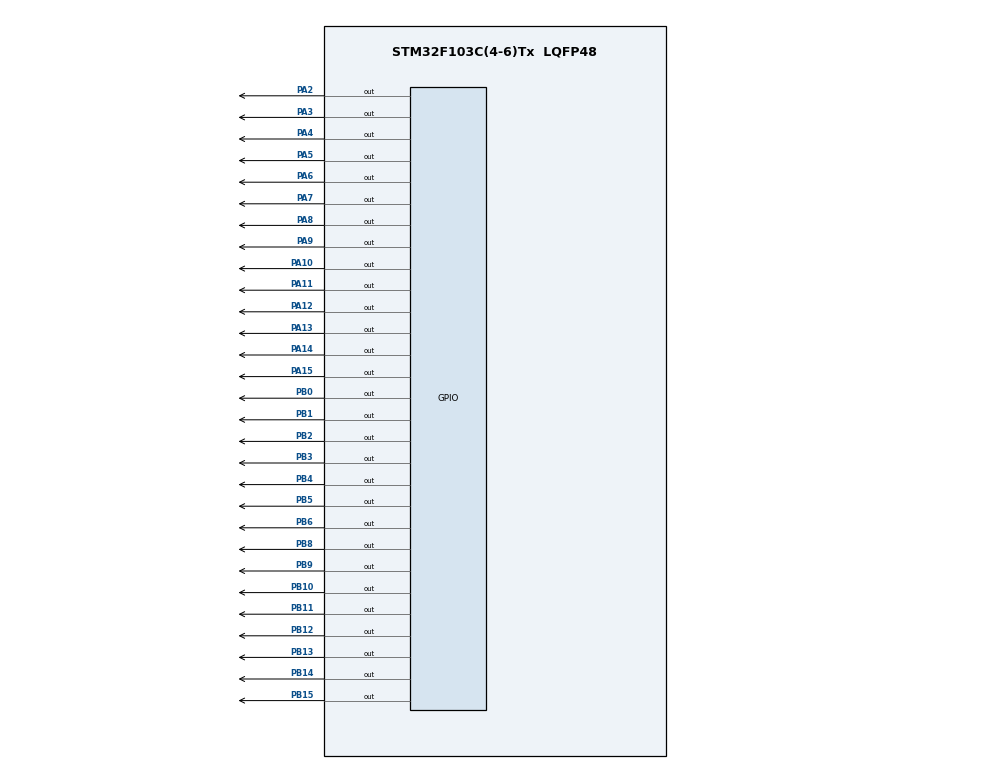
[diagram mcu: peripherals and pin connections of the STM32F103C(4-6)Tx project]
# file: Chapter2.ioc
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Mcu.Family=STM32F1
Mcu.Name=STM32F103C(4-6)Tx
Mcu.Package=LQFP48
NVIC.PriorityGroup=NVIC_PRIORITYGROUP_4
NVIC.TIM2_IRQn=true\:0\:0\:false\:false\:true\:true\:true
PA10.Signal=GPIO_Output
PA11.Signal=GPIO_Output
PA12.Signal=GPIO_Output
PA13.Signal=GPIO_Output
PA14.Signal=GPIO_Output
PA15.Signal=GPIO_Output
PA2.Signal=GPIO_Output
PA3.Signal=GPIO_Output
PA4.Signal=GPIO_Output
PA5.Signal=GPIO_Output
PA6.Signal=GPIO_Output
PA7.Signal=GPIO_Output
PA8.Signal=GPIO_Output
PA9.Signal=GPIO_Output
PB0.Signal=GPIO_Output
PB1.Signal=GPIO_Output
PB10.Signal=GPIO_Output
PB11.Signal=GPIO_Output
PB12.Signal=GPIO_Output
PB13.Signal=GPIO_Output
PB14.Signal=GPIO_Output
PB15.Signal=GPIO_Output
PB2.Signal=GPIO_Output
PB3.Signal=GPIO_Output
PB4.Signal=GPIO_Output
PB5.Signal=GPIO_Output
PB6.Signal=GPIO_Output
PB8.Signal=GPIO_Output
PB9.Signal=GPIO_Output
ProjectManager.HeapSize=0x200
ProjectManager.StackSize=0x400
ProjectManager.TargetToolchain=STM32CubeIDE
RCC.APB1Freq_Value=8000000
RCC.APB2Freq_Value=8000000
TIM2.AutoReloadPreload=TIM_AUTORELOAD_PRELOAD_ENABLE
TIM2.Period=9
TIM2.Prescaler=799
VP_SYS_VS_ND.Mode=No_Debug
VP_TIM2_VS_ClockSourceINT.Mode=Internal
board=custom

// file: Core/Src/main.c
/* USER CODE BEGIN Header */
/**
  ******************************************************************************
  * @file           : main.c
  * @brief          : Main program body
  ******************************************************************************
  * @attention
  *
  * <h2><center>&copy; Copyright (c) 2021 STMicroelectronics.
  * All rights reserved.</center></h2>
  *
  * This software component is licensed by ST under BSD 3-Clause license,
  * the "License"; You may not use this file except in compliance with the
  * License. You may obtain a copy of the License at:
  *                        opensource.org/licenses/BSD-3-Clause
  *
  ******************************************************************************
  */
/* USER CODE END Header */
#include "main.h"

/* USER CODE BEGIN PTD */
#define NO_OF_TIMERS 3
/* USER CODE END PTD */

TIM_HandleTypeDef htim2;

/* USER CODE BEGIN PV */
static uint8_t seg7Hex[] = {0x01, 0x4F, 0x12, 0x06, 0x4C, 0x24, 0x20, 0x0F, 0x00, 0x04, 0xff};
static uint16_t seg7Port[7] = {SEG0, SEG1, SEG2, SEG3, SEG4, SEG5, SEG6};
static uint16_t seg7En[4] = {EN0, EN1, EN2, EN3};

const int MAX_LED = 4;
int index_led = 0;
int led_buffer [4] = {0, 0, 0, 0};

int hour = 15, minute = 8, second = 50;

const int MAX_LED_MATRIX = 8;
int index_led_matrix = 0;
//uint8_t matrix_buffer[8] = {0x01, 0x06, 0x38, 0xC8, 0xC8, 0x38, 0x06, 0x01};
uint8_t matrix_buffer[8] = {0xff, 0xff,0x18,0x18,0x18,0x18,0xff,0xff};
uint8_t charA[8] = {0x01, 0x06, 0x38, 0xC8, 0xC8, 0x38, 0x06, 0x01};
uint8_t charH[8] = {0xff, 0xff,0x18,0x18,0x18,0x18,0xff,0xff};

uint16_t row_pin[8] = {ROW0,ROW1,ROW2,ROW3,ROW4,ROW5,ROW6,ROW7};
uint16_t col_pin[8] = {ENM0,ENM1,ENM2,ENM3,ENM4,ENM5,ENM6,ENM7};

int TIMER_CYCLE;

int timer_counter[NO_OF_TIMERS];
int timer_flag[NO_OF_TIMERS];

/* USER CODE END PV */

void SystemClock_Config(void);
static void MX_TIM2_Init(void);
static void MX_GPIO_Init(void);
/* USER CODE BEGIN PFP */
void update7SEG(int);
void updateClockBuffer(void);
void display7SEG(int);
void updateLEDMatrixBuffer(uint8_t *);
void updateLEDMatrix(int);
void shiftLeftMatrix(uint8_t *);

void setTimer(int, int);
void timer_run(void);
/* USER CODE END PFP */

int main(void)
{

  /* MCU Configuration--------------------------------------------------------*/

  /* Reset of all peripherals, Initializes the Flash interface and the Systick. */
  HAL_Init();

  /* Configure the system clock */
  SystemClock_Config();

  /* Initialize all configured peripherals */
  MX_TIM2_Init();
  MX_GPIO_Init();
  /* USER CODE BEGIN 2 */
  HAL_TIM_Base_Start_IT(&htim2);
  /* USER CODE END 2 */

  /* Infinite loop */
  /* USER CODE BEGIN WHILE */

  setTimer(0,TIMER_CYCLE);
  setTimer(1,TIMER_CYCLE);
  setTimer(2,TIMER_CYCLE);
  updateClockBuffer();

  HAL_GPIO_WritePin(ROW_PORT, ROW0|ROW1|ROW2|ROW3|ROW4|ROW5|ROW6|ROW7, 1);
  HAL_GPIO_WritePin(ENM_PORT, ENM0|ENM1|ENM2|ENM3|ENM4|ENM5|ENM6|ENM7, 1);

  HAL_GPIO_WritePin(ROW_PORT, ROW7, 0);
  HAL_GPIO_WritePin(ENM_PORT, ENM7, 0);
  while (1)
  {
	  if(timer_flag[0]) {
		  timer_flag[0] = 0;
		  setTimer(0,1000);

		  HAL_GPIO_TogglePin(DOT_PORT, DOT);
		  HAL_GPIO_TogglePin(RLED_PORT, RLED1);

		  second++;
		  if(second >= 60) {
			  second = 0;
			  minute++;
		  }
		  if(minute >= 60) {
			  minute = 0;
			  hour++;
		  }
		  if(hour >= 24) {
			  hour = 0;
		  }
		  updateClockBuffer();
	  }
	  if(timer_flag[1]) {
		  timer_flag[1] = 0;
		  setTimer(1,250);

		  shiftLeftMatrix(charH);
		  update7SEG(index_led++);
		  if(index_led == MAX_LED) index_led = 0;
	  }
	  if(timer_flag[2]) {
		  timer_flag[2] = 0;
		  setTimer(2,3);
//		  updateLEDMatrixBuffer(charA);
		  updateLEDMatrix(index_led_matrix++);
		  if(index_led_matrix == MAX_LED_MATRIX) index_led_matrix = 0;
	  }

    /* USER CODE END WHILE */

  }
}

void SystemClock_Config(void)
{
  RCC_OscInitTypeDef RCC_OscInitStruct = {0};
  RCC_ClkInitTypeDef RCC_ClkInitStruct = {0};

  /** Initializes the RCC Oscillators according to the specified parameters
  * in the RCC_OscInitTypeDef structure.
  */
  RCC_OscInitStruct.OscillatorType = RCC_OSCILLATORTYPE_HSI;
  RCC_OscInitStruct.HSIState = RCC_HSI_ON;
  RCC_OscInitStruct.HSICalibrationValue = RCC_HSICALIBRATION_DEFAULT;
  RCC_OscInitStruct.PLL.PLLState = RCC_PLL_NONE;
  if (HAL_RCC_OscConfig(&RCC_OscInitStruct) != HAL_OK)
  {
    Error_Handler();
  }
  /** Initializes the CPU, AHB and APB buses clocks
  */
  RCC_ClkInitStruct.ClockType = RCC_CLOCKTYPE_HCLK|RCC_CLOCKTYPE_SYSCLK
                              |RCC_CLOCKTYPE_PCLK1|RCC_CLOCKTYPE_PCLK2;
  RCC_ClkInitStruct.SYSCLKSource = RCC_SYSCLKSOURCE_HSI;
  RCC_ClkInitStruct.AHBCLKDivider = RCC_SYSCLK_DIV1;
  RCC_ClkInitStruct.APB1CLKDivider = RCC_HCLK_DIV1;
  RCC_ClkInitStruct.APB2CLKDivider = RCC_HCLK_DIV1;

  if (HAL_RCC_ClockConfig(&RCC_ClkInitStruct, FLASH_LATENCY_0) != HAL_OK)
  {
    Error_Handler();
  }
}

static void MX_TIM2_Init(void)
{

  TIM_ClockConfigTypeDef sClockSourceConfig = {0};
  TIM_MasterConfigTypeDef sMasterConfig = {0};

  htim2.Instance = TIM2;
  htim2.Init.Prescaler = 799;
  htim2.Init.CounterMode = TIM_COUNTERMODE_UP;
  htim2.Init.Period = 9;
  htim2.Init.ClockDivision = TIM_CLOCKDIVISION_DIV1;
  htim2.Init.AutoReloadPreload = TIM_AUTORELOAD_PRELOAD_ENABLE;
  if (HAL_TIM_Base_Init(&htim2) != HAL_OK)
  {
    Error_Handler();
  }
  sClockSourceConfig.ClockSource = TIM_CLOCKSOURCE_INTERNAL;
  if (HAL_TIM_ConfigClockSource(&htim2, &sClockSourceConfig) != HAL_OK)
  {
    Error_Handler();
  }
  sMasterConfig.MasterOutputTrigger = TIM_TRGO_RESET;
  sMasterConfig.MasterSlaveMode = TIM_MASTERSLAVEMODE_DISABLE;
  if (HAL_TIMEx_MasterConfigSynchronization(&htim2, &sMasterConfig) != HAL_OK)
  {
    Error_Handler();
  }
  /* USER CODE BEGIN TIM2_Init 2 */
  	TIMER_CYCLE = ((htim2.Init.Prescaler+1) * (htim2.Init.Period+1) / 8000);
  /* USER CODE END TIM2_Init 2 */

}

static void MX_GPIO_Init(void)
{
  GPIO_InitTypeDef GPIO_InitStruct = {0};

  /* GPIO Ports Clock Enable */
  __HAL_RCC_GPIOA_CLK_ENABLE();
  __HAL_RCC_GPIOB_CLK_ENABLE();

  /*Configure GPIO pin Output Level */
  HAL_GPIO_WritePin(GPIOA, GPIO_PIN_2|GPIO_PIN_3|GPIO_PIN_4|GPIO_PIN_5
                          |GPIO_PIN_6|GPIO_PIN_7|GPIO_PIN_8|GPIO_PIN_9
                          |GPIO_PIN_10|GPIO_PIN_11|GPIO_PIN_12|GPIO_PIN_13
                          |GPIO_PIN_14|GPIO_PIN_15, GPIO_PIN_RESET);

  /*Configure GPIO pin Output Level */
  HAL_GPIO_WritePin(GPIOB, GPIO_PIN_0|GPIO_PIN_1|GPIO_PIN_2|GPIO_PIN_10
                          |GPIO_PIN_11|GPIO_PIN_12|GPIO_PIN_13|GPIO_PIN_14
                          |GPIO_PIN_15|GPIO_PIN_3|GPIO_PIN_4|GPIO_PIN_5
                          |GPIO_PIN_6|GPIO_PIN_8|GPIO_PIN_9, GPIO_PIN_RESET);

  /*Configure GPIO pins : PA2 PA3 PA4 PA5
                           PA6 PA7 PA8 PA9
                           PA10 PA11 PA12 PA13
                           PA14 PA15 */
  GPIO_InitStruct.Pin = GPIO_PIN_2|GPIO_PIN_3|GPIO_PIN_4|GPIO_PIN_5
                          |GPIO_PIN_6|GPIO_PIN_7|GPIO_PIN_8|GPIO_PIN_9
                          |GPIO_PIN_10|GPIO_PIN_11|GPIO_PIN_12|GPIO_PIN_13
                          |GPIO_PIN_14|GPIO_PIN_15;
  GPIO_InitStruct.Mode = GPIO_MODE_OUTPUT_PP;
  GPIO_InitStruct.Pull = GPIO_NOPULL;
  GPIO_InitStruct.Speed = GPIO_SPEED_FREQ_LOW;
  HAL_GPIO_Init(GPIOA, &GPIO_InitStruct);

  /*Configure GPIO pins : PB0 PB1 PB2 PB10
                           PB11 PB12 PB13 PB14
                           PB15 PB3 PB4 PB5
                           PB6 PB8 PB9 */
  GPIO_InitStruct.Pin = GPIO_PIN_0|GPIO_PIN_1|GPIO_PIN_2|GPIO_PIN_10
                          |GPIO_PIN_11|GPIO_PIN_12|GPIO_PIN_13|GPIO_PIN_14
                          |GPIO_PIN_15|GPIO_PIN_3|GPIO_PIN_4|GPIO_PIN_5
                          |GPIO_PIN_6|GPIO_PIN_8|GPIO_PIN_9;
  GPIO_InitStruct.Mode = GPIO_MODE_OUTPUT_PP;
  GPIO_InitStruct.Pull = GPIO_NOPULL;
  GPIO_InitStruct.Speed = GPIO_SPEED_FREQ_LOW;
  HAL_GPIO_Init(GPIOB, &GPIO_InitStruct);

}

/* USER CODE BEGIN 4 */
void display7SEG(int num) {
	HAL_GPIO_WritePin(SEG_PORT, SEG0 | SEG1 | SEG2 | SEG3 | SEG4 | SEG5 | SEG6, 1);
	for(int i = 0; i < 7; i++) {
		HAL_GPIO_WritePin(SEG_PORT, seg7Port[i], seg7Hex[num] & (0x40 >> i));
	}
}

void update7SEG(int index) {
	HAL_GPIO_WritePin(EN_PORT, EN0 | EN1 | EN2 | EN3, 1);
	display7SEG(led_buffer[index]);
	HAL_GPIO_WritePin(EN_PORT, seg7En[index], 0);
}

void updateLEDMatrixBuffer(uint8_t * character){
	for(int i = 0 ; i< 8; i++){
		matrix_buffer[i] = character[i];
	}
}

void updateLEDMatrix(int index) {
	HAL_GPIO_WritePin(ROW_PORT, ROW0|ROW1|ROW2|ROW3|ROW4|ROW5|ROW6|ROW7, 1);
	HAL_GPIO_WritePin(ENM_PORT, ENM0|ENM1|ENM2|ENM3|ENM4|ENM5|ENM6|ENM7, 1);
	for(int i = 0; i < 8; i++) {
		if(matrix_buffer[index] & (0x80 >> i)) {
			HAL_GPIO_WritePin(ROW_PORT, row_pin[i], 0);
		}
	}
	HAL_GPIO_WritePin(ENM_PORT, col_pin[index], 0);
}
void shiftLeftMatrix(uint8_t * character) {
	static int shamt = 0;

	for(int i = 0; i < MAX_LED_MATRIX; i++) {
		if(i+shamt >= 0 && i+shamt < MAX_LED_MATRIX) {
			matrix_buffer[i] = character[i+shamt];
		}
		else {
			matrix_buffer[i] = 0x0;
		}
	}

	shamt++;
	if(shamt == MAX_LED_MATRIX) {
		shamt = -7;
	}
}

void updateClockBuffer() {
	led_buffer[0] = hour / 10;
	led_buffer[1] = hour % 10;
	led_buffer[2] = minute / 10;
	led_buffer[3] = minute % 10;
}

void setTimer(int timer, int duration) {
	timer_counter[timer] = duration / TIMER_CYCLE;
	timer_flag[timer] = 0;
}

void timer_run() {
	for(int i = 0; i < NO_OF_TIMERS; i++) {
		if(timer_counter[i] > 0) {
			timer_counter[i]--;
			if(timer_counter[i] == 0) {
				timer_flag[i] = 1;
			}
		}
	}
}

void HAL_TIM_PeriodElapsedCallback(TIM_HandleTypeDef*htim) {
	timer_run();
}
/* USER CODE END 4 */

void Error_Handler(void)
{
  __disable_irq();
  while (1)
  {
  }
}

/************************ (C) COPYRIGHT STMicroelectronics *****END OF FILE****/
